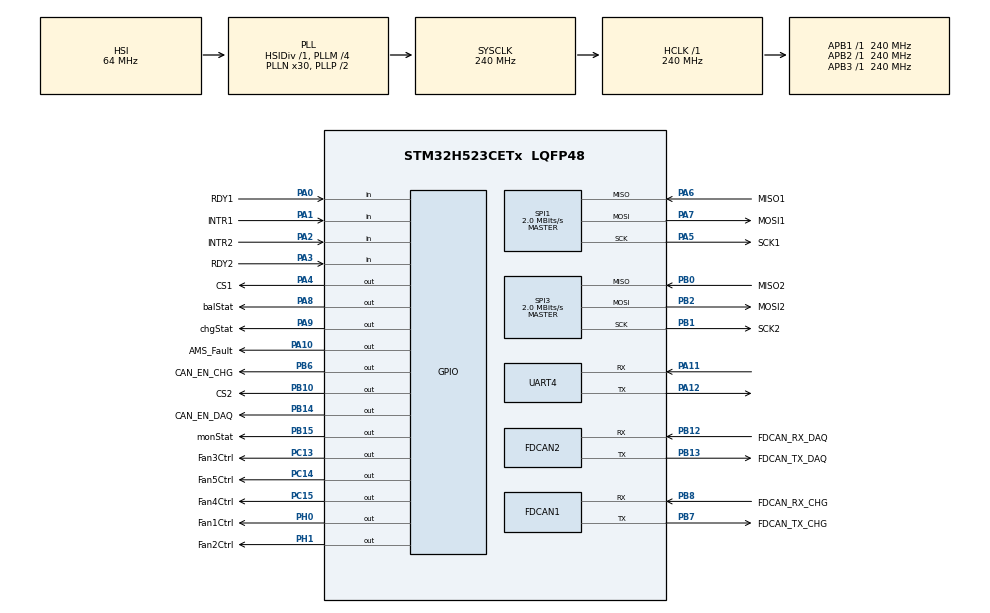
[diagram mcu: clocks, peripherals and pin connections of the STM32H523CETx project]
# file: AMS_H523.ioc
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ADC1.Channel-0\#ChannelRegularConversion=ADC_CHANNEL_VREFINT
ADC1.Channel-1\#ChannelRegularConversion=ADC_CHANNEL_TEMPSENSOR
ADC1.ContinuousConvMode=DISABLE
ADC1.ExternalTrigConv=ADC_EXTERNALTRIG_T3_TRGO
ADC1.MonitoredBy-0\#ChannelRegularConversion=__NULL
ADC1.MonitoredBy-1\#ChannelRegularConversion=__NULL
ADC1.NbrOfConversion=2
ADC1.NbrOfConversionFlag=1
ADC1.OffsetNumber-0\#ChannelRegularConversion=ADC_OFFSET_NONE
ADC1.OffsetNumber-1\#ChannelRegularConversion=ADC_OFFSET_NONE
ADC1.Rank-0\#ChannelRegularConversion=1
ADC1.Rank-1\#ChannelRegularConversion=2
ADC1.SamplingTime-0\#ChannelRegularConversion=ADC_SAMPLETIME_247CYCLES_5
ADC1.SamplingTime-1\#ChannelRegularConversion=ADC_SAMPLETIME_247CYCLES_5
ADC1.master=1
BOOTPATH.BootPathName=LEGACY
BOOTPATH.UserSelectedBootPath=LEGACY
CORTEX_M33_NS.userName=CORTEX_M33
FDCAN1.CalculateBaudRateNominal=500000
FDCAN1.CalculateTimeBitNominal=2000
FDCAN1.CalculateTimeQuantumNominal=100.0
FDCAN1.DataPrescaler=16
FDCAN1.DataSyncJumpWidth=1
FDCAN1.DataTimeSeg1=13
FDCAN1.DataTimeSeg2=6
FDCAN1.ExtFiltersNbr=1
FDCAN1.FrameFormat=FDCAN_FRAME_CLASSIC
FDCAN1.NominalPrescaler=16
FDCAN1.NominalSyncJumpWidth=4
FDCAN1.NominalTimeSeg1=13
FDCAN1.NominalTimeSeg2=6
FDCAN2.CalculateBaudRateNominal=1000000
FDCAN2.CalculateTimeBitNominal=1000
FDCAN2.CalculateTimeQuantumNominal=6.25
FDCAN2.DataSyncJumpWidth=9
FDCAN2.DataTimeSeg1=10
FDCAN2.DataTimeSeg2=9
FDCAN2.FrameFormat=FDCAN_FRAME_FD_BRS
FDCAN2.NominalPrescaler=1
FDCAN2.NominalSyncJumpWidth=21
FDCAN2.NominalTimeSeg1=138
FDCAN2.NominalTimeSeg2=21
GPDMA1.IPHANDLE_GPDMACH0-SIMPLEREQUEST_GPDMACH0=__NULL
GPDMA1.PRIORITY_GPDMACH0=DMA_LOW_PRIORITY_HIGH_WEIGHT
GPDMA1.REQUEST_GPDMACH0=GPDMA1_REQUEST_ADC1
Mcu.Family=STM32H5
Mcu.Name=STM32H523CETx
Mcu.Package=LQFP48
NVIC.ADC1_IRQn=true\:0\:0\:false\:false\:true\:true\:true\:true
NVIC.FDCAN1_IT0_IRQn=true\:0\:0\:false\:false\:true\:true\:true\:true
NVIC.FDCAN1_IT1_IRQn=true\:0\:0\:false\:false\:true\:true\:true\:true
NVIC.GPDMA1_Channel0_IRQn=true\:0\:0\:false\:false\:true\:false\:true\:true
NVIC.PriorityGroup=NVIC_PRIORITYGROUP_4
NVIC.TIM3_IRQn=true\:0\:0\:false\:false\:true\:true\:true\:true
NVIC.TIM4_IRQn=true\:0\:0\:false\:false\:true\:true\:true\:true
PA0.GPIO_Label=RDY1
PA0.Signal=GPIO_Input
PA1.GPIO_Label=INTR1
PA1.Signal=GPIO_Input
PA10.GPIO_Label=AMS_Fault
PA10.Signal=GPIO_Output
PA11.Mode=Asynchronous
PA11.Signal=UART4_RX
PA12.Mode=Asynchronous
PA12.Signal=UART4_TX
PA13(JTMS/SWDIO).Mode=Trace_Asynchronous_SW
PA13(JTMS/SWDIO).Signal=DEBUG_JTMS-SWDIO
PA14(JTCK/SWCLK).Mode=Trace_Asynchronous_SW
PA14(JTCK/SWCLK).Signal=DEBUG_JTCK-SWCLK
PA2.GPIO_Label=INTR2
PA2.Signal=GPIO_Input
PA3.GPIO_Label=RDY2
PA3.Signal=GPIO_Input
PA4.GPIO_Label=CS1
PA4.GPIO_Speed=GPIO_SPEED_FREQ_VERY_HIGH
PA4.Signal=GPIO_Output
PA5.GPIO_Label=SCK1
PA5.Mode=Full_Duplex_Master
PA5.Signal=SPI1_SCK
PA6.GPIO_Label=MISO1
PA6.Mode=Full_Duplex_Master
PA6.Signal=SPI1_MISO
PA7.GPIO_Label=MOSI1
PA7.Mode=Full_Duplex_Master
PA7.Signal=SPI1_MOSI
PA8.GPIO_Label=balStat
PA8.Signal=GPIO_Output
PA9.GPIO_Label=chgStat
PA9.Signal=GPIO_Output
PB0.GPIO_Label=MISO2
PB0.Mode=Full_Duplex_Master
PB0.Signal=SPI3_MISO
PB1.GPIO_Label=SCK2
PB1.Mode=Full_Duplex_Master
PB1.Signal=SPI3_SCK
PB10.GPIO_Label=CS2
PB10.GPIO_ModeDefaultOutputPP=GPIO_MODE_OUTPUT_PP
PB10.GPIO_PuPd=GPIO_NOPULL
PB10.GPIO_Speed=GPIO_SPEED_FREQ_HIGH
PB10.PinState=GPIO_PIN_SET
PB10.Signal=GPIO_Output
PB12.GPIO_Label=FDCAN_RX_DAQ
PB12.Mode=FDCAN_Activate
PB12.Signal=FDCAN2_RX
PB13.GPIO_Label=FDCAN_TX_DAQ
PB13.Mode=FDCAN_Activate
PB13.Signal=FDCAN2_TX
PB14.GPIO_Label=CAN_EN_DAQ
PB14.Signal=GPIO_Output
PB15.GPIO_Label=monStat
PB15.Signal=GPIO_Output
PB2.GPIO_Label=MOSI2
PB2.Mode=Full_Duplex_Master
PB2.Signal=SPI3_MOSI
PB3(JTDO/TRACESWO).Mode=Trace_Asynchronous_SW
PB3(JTDO/TRACESWO).Signal=DEBUG_JTDO-SWO
PB6.GPIO_Label=CAN_EN_CHG
PB6.Signal=GPIO_Output
PB7.GPIO_Label=FDCAN_TX_CHG
PB7.Mode=FDCAN_Activate
PB7.Signal=FDCAN1_TX
PB8.GPIO_Label=FDCAN_RX_CHG
PB8.Mode=FDCAN_Activate
PB8.Signal=FDCAN1_RX
PC13.GPIO_Label=Fan3Ctrl
PC13.GPIO_PuPd=GPIO_PULLUP
PC13.Signal=GPIO_Output
PC14-OSC32_IN(OSC32_IN).GPIO_Label=Fan5Ctrl
PC14-OSC32_IN(OSC32_IN).GPIO_PuPd=GPIO_PULLUP
PC14-OSC32_IN(OSC32_IN).Signal=GPIO_Output
PC15-OSC32_OUT(OSC32_OUT).GPIO_Label=Fan4Ctrl
PC15-OSC32_OUT(OSC32_OUT).GPIO_PuPd=GPIO_PULLUP
PC15-OSC32_OUT(OSC32_OUT).Signal=GPIO_Output
PH0-OSC_IN(PH0).GPIO_Label=Fan1Ctrl
PH0-OSC_IN(PH0).GPIO_PuPd=GPIO_PULLUP
PH0-OSC_IN(PH0).Signal=GPIO_Output
PH1-OSC_OUT(PH1).GPIO_Label=Fan2Ctrl
PH1-OSC_OUT(PH1).GPIO_PuPd=GPIO_PULLUP
PH1-OSC_OUT(PH1).Signal=GPIO_Output
ProjectManager.HeapSize=0x200
ProjectManager.StackSize=0x400
ProjectManager.TargetToolchain=STM32CubeIDE
RCC.ADCFreq_Value=240000000
RCC.AHBFreq_Value=240000000
RCC.APB1Freq_Value=240000000
RCC.APB1TimFreq_Value=240000000
RCC.APB2Freq_Value=240000000
RCC.APB2TimFreq_Value=240000000
RCC.APB3Freq_Value=240000000
RCC.CSI_VALUE=4000000
RCC.CortexFreq_Value=240000000
RCC.EPOD_VALUE=64000000
RCC.FDCANClockSelection=RCC_FDCANCLKSOURCE_PLL1Q
RCC.HCLKFreq_Value=240000000
RCC.HSE_VALUE=25000000
RCC.HSI48_VALUE=48000000
RCC.HSIDiv=RCC_HSI_DIV1
RCC.HSI_VALUE=64000000
RCC.LSE_VALUE=32768
RCC.LSIRC_VALUE=32000
RCC.PLL1Q=3
RCC.PLL2FRACN=0
RCC.PLL2N=40
RCC.PLL3FRACN=0
RCC.PLL3N=64
RCC.PLL3P=8
RCC.PLLFRACN=0
RCC.PLLM=4
RCC.PLLN=30
RCC.PLLSourceVirtual=RCC_PLL1_SOURCE_HSI
RCC.SPI1CLockSelection=RCC_SPI1CLKSOURCE_PLL3P
RCC.SPI3CLockSelection=RCC_SPI3CLKSOURCE_PLL3P
RCC.SYSCLKFreq_VALUE=240000000
RCC.SYSCLKSource=RCC_SYSCLKSOURCE_PLLCLK
RCC.USBFreq_Value=48000000
RCC.VCOOutputFreq_Value=480000000
SPI1.BaudRatePrescaler=SPI_BAUDRATEPRESCALER_16
SPI1.CalculateBaudRate=2.0 MBits/s
SPI1.DataSize=SPI_DATASIZE_8BIT
SPI1.Direction=SPI_DIRECTION_2LINES
SPI1.Mode=SPI_MODE_MASTER
SPI1.NSSPMode=SPI_NSS_PULSE_DISABLE
SPI1.VirtualType=VM_MASTER
SPI3.BaudRatePrescaler=SPI_BAUDRATEPRESCALER_16
SPI3.CalculateBaudRate=2.0 MBits/s
SPI3.Direction=SPI_DIRECTION_2LINES
SPI3.Mode=SPI_MODE_MASTER
SPI3.VirtualType=VM_MASTER
TIM3.PeriodNoDither=999
TIM3.Prescaler=4999
TIM3.TIM_MasterOutputTrigger=TIM_TRGO_UPDATE
TIM4.PeriodNoDither=9999
TIM4.Prescaler=24999
TIM4.TIM_MasterOutputTrigger=TIM_TRGO_UPDATE
TIM6.Prescaler=23999
VP_ADC1_TempSens_Input.Mode=IN-TempSens
VP_ADC1_Vref_Input.Mode=IN-Vrefint
VP_BOOTPATH_VS_BOOTPATH.Mode=BP_Activate
VP_CORTEX_M33_NS_VS_Hclk.Mode=Hclk_Mode
VP_GPDMA1_VS_GPDMACH0.Mode=SIMPLEREQUEST_GPDMACH0
VP_MEMORYMAP_VS_MEMORYMAP.Mode=CurAppReg
VP_PWR_VS_LPOM.Mode=PowerOptimisation
VP_PWR_VS_SECSignals.Mode=Security/Privilege
VP_TIM2_VS_ClockSourceINT.Mode=Internal
VP_TIM3_VS_ClockSourceINT.Mode=Internal
VP_TIM4_VS_ClockSourceINT.Mode=Internal
VP_TIM5_VS_ClockSourceINT.Mode=Internal
VP_TIM6_VS_ClockSourceINT.Mode=Enable_Timer
board=custom

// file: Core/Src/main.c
/* USER CODE BEGIN Header */
/**
  ******************************************************************************
  * @file           : main.c
  * @brief          : Main program body
  ******************************************************************************
  * @attention
  *
  * Copyright (c) 2025 STMicroelectronics.
  * All rights reserved.
  *
  * This software is licensed under terms that can be found in the LICENSE file
  * in the root directory of this software component.
  * If no LICENSE file comes with this software, it is provided AS-IS.
  *
  ******************************************************************************
  */
/* USER CODE END Header */
#include "main.h"
#include "adc.h"
#include "fdcan.h"
#include "gpdma.h"
#include "spi.h"
#include "tim.h"
#include "usart.h"
#include "gpio.h"

/* USER CODE BEGIN Includes */
#include "adBms_Application.h"
#include "math.h"
#include "application.h"
#include "common.h"

/* USER CODE END Includes */

/* USER CODE BEGIN PD */
#define AVG_SLOPE (4.3F)
#define V_AT_25C  (1.43F)
#define V_REF_INT (1.2F)
/* USER CODE END PD */

/* USER CODE BEGIN PV */
SEG_PARAMS  SEG1,SEG2,SEG3,SEG4,SEG5;

SEG_BSTAT SEG1_B, SEG2_B, SEG3_B, SEG4_B, SEG5_B;

//uint16_t TS_Current;
float AMS_SOC = 0.0;
uint8_t AMS_SAFE;

uint16_t AMS_Charg_I = 50;
uint16_t AMS_Charg_V = 3201;
uint8_t balancingState = 0 ; // 0-> normal mode || 1-> charger connected
//uint8_t MCU_junction_temp;

uint8_t UpdateEve_MCUtemp = 0 ;
uint16_t ADC_RES[2];
float MCUTemperature, V_Sense, V_Ref;

uint8_t Charge_EN = 0;
uint8_t Charge_FullAmp = 0;
uint8_t Charge_1Amp = 0;
uint8_t SDC_Temp_CHECK = 0;
uint8_t SDC_FLAG =1;
uint8_t SDC_V_CHECK = 0;
uint8_t FAN_CTRL=0;
uint8_t FAN_CTRL1=0;
uint8_t FAN_CTRL2=0;
uint8_t FAN_CTRL3=0;
uint8_t FAN_CTRL4=0;
uint8_t FAN_CTRL5=0;

/* USER CODE END PV */

void SystemClock_Config(void);
void PeriphCommonClock_Config(void);

int main(void)
{

  /* MCU Configuration--------------------------------------------------------*/

  /* Reset of all peripherals, Initializes the Flash interface and the Systick. */
  HAL_Init();

  /* Configure the system clock */
  SystemClock_Config();

  /* Configure the peripherals common clocks */
  PeriphCommonClock_Config();

  /* Initialize all configured peripherals */
  MX_GPIO_Init();
  MX_GPDMA1_Init();
  MX_FDCAN1_Init();
  MX_FDCAN2_Init();
  MX_SPI1_Init();
  MX_SPI3_Init();
  MX_TIM2_Init();
  MX_TIM3_Init();
  MX_UART4_Init();
  MX_TIM5_Init();
  MX_TIM4_Init();
  MX_ADC1_Init();
  MX_TIM6_Init();
  /* USER CODE BEGIN 2 */
  HAL_GPIO_WritePin(CS2_GPIO_Port,CS2_Pin,GPIO_PIN_SET);
  HAL_TIM_Base_Start(&htim3);
  HAL_TIM_Base_Start_IT(&htim6);
////  HAL_ADCEx_Calibration_Start(&hadc1,ADC_SINGLE_ENDED);
////  HAL_ADC_Start_DMA(&hadc1, (uint32_t*)ADC_RES, 2);   // Start ADC Conversion for MCU temp
////
  HAL_GPIO_WritePin(monStat_GPIO_Port, monStat_Pin, GPIO_PIN_SET);
//
//  HAL_GPIO_WritePin(AMS_Fault_GPIO_Port, AMS_Fault_Pin, GPIO_PIN_SET);
  HAL_GPIO_WritePin(CS2_GPIO_Port, CS2_Pin, GPIO_PIN_SET);
//  init_contCurrentConv();
  CAN_Data_Init();
  CAN_Charger_Init();
//  HAL_Delay(1000);
//  canFraming();
  adbms_init_loop();
//  HAL_TIM_Base_Start_IT(&htim3);
//  canFraming();
//  cantestFraming();
  /* USER CODE END 2 */

  /* Infinite loop */
  /* USER CODE BEGIN WHILE */
  while (1)
  {
//	  while(1)
//	  if(balancingState==0)
//	  	  {
	  if(SDC_FLAG){
		  HAL_GPIO_WritePin(AMS_Fault_GPIO_Port, AMS_Fault_Pin, GPIO_PIN_SET);
	  } else {
		  HAL_GPIO_WritePin(AMS_Fault_GPIO_Port, AMS_Fault_Pin, GPIO_PIN_RESET);
	  }

	  Fan_All(FAN_CTRL);
	  Fan_1(FAN_CTRL1);
	  Fan_2(FAN_CTRL2);
	  Fan_3(FAN_CTRL3);
	  Fan_4(FAN_CTRL4);
	  Fan_5(FAN_CTRL5);

//		  readI();
//		  ad29Delay_us(2500);

//	  cantestFraming();

//	   		CAN_DataTX_1s();

	  	  adbms_readCell_loop();
	  	  adbmsReinitMain();
//	  	HAL_Delay(50);
	  	  adbms_readTempToggle();
//
	  	  adBms_delayUs(3000);
//	  	CAN_DataTX_1s();
//	  	  }
//	  else
//	  	  {

//	  	  }
//	  	  HAL_Delay(50);
    /* USER CODE END WHILE */

  }
}

void SystemClock_Config(void)
{
  RCC_OscInitTypeDef RCC_OscInitStruct = {0};
  RCC_ClkInitTypeDef RCC_ClkInitStruct = {0};

  /** Configure the main internal regulator output voltage
  */
  __HAL_PWR_VOLTAGESCALING_CONFIG(PWR_REGULATOR_VOLTAGE_SCALE0);

  while(!__HAL_PWR_GET_FLAG(PWR_FLAG_VOSRDY)) {}

  /** Initializes the RCC Oscillators according to the specified parameters
  * in the RCC_OscInitTypeDef structure.
  */
  RCC_OscInitStruct.OscillatorType = RCC_OSCILLATORTYPE_HSI|RCC_OSCILLATORTYPE_CSI;
  RCC_OscInitStruct.HSIState = RCC_HSI_ON;
  RCC_OscInitStruct.HSIDiv = RCC_HSI_DIV1;
  RCC_OscInitStruct.HSICalibrationValue = RCC_HSICALIBRATION_DEFAULT;
  RCC_OscInitStruct.CSIState = RCC_CSI_ON;
  RCC_OscInitStruct.CSICalibrationValue = RCC_CSICALIBRATION_DEFAULT;
  RCC_OscInitStruct.PLL.PLLState = RCC_PLL_ON;
  RCC_OscInitStruct.PLL.PLLSource = RCC_PLL1_SOURCE_HSI;
  RCC_OscInitStruct.PLL.PLLM = 4;
  RCC_OscInitStruct.PLL.PLLN = 30;
  RCC_OscInitStruct.PLL.PLLP = 2;
  RCC_OscInitStruct.PLL.PLLQ = 3;
  RCC_OscInitStruct.PLL.PLLR = 2;
  RCC_OscInitStruct.PLL.PLLRGE = RCC_PLL1_VCIRANGE_3;
  RCC_OscInitStruct.PLL.PLLVCOSEL = RCC_PLL1_VCORANGE_WIDE;
  RCC_OscInitStruct.PLL.PLLFRACN = 0;
  if (HAL_RCC_OscConfig(&RCC_OscInitStruct) != HAL_OK)
  {
    Error_Handler();
  }

  /** Initializes the CPU, AHB and APB buses clocks
  */
  RCC_ClkInitStruct.ClockType = RCC_CLOCKTYPE_HCLK|RCC_CLOCKTYPE_SYSCLK
                              |RCC_CLOCKTYPE_PCLK1|RCC_CLOCKTYPE_PCLK2
                              |RCC_CLOCKTYPE_PCLK3;
  RCC_ClkInitStruct.SYSCLKSource = RCC_SYSCLKSOURCE_PLLCLK;
  RCC_ClkInitStruct.AHBCLKDivider = RCC_SYSCLK_DIV1;
  RCC_ClkInitStruct.APB1CLKDivider = RCC_HCLK_DIV1;
  RCC_ClkInitStruct.APB2CLKDivider = RCC_HCLK_DIV1;
  RCC_ClkInitStruct.APB3CLKDivider = RCC_HCLK_DIV1;

  if (HAL_RCC_ClockConfig(&RCC_ClkInitStruct, FLASH_LATENCY_5) != HAL_OK)
  {
    Error_Handler();
  }

  /** Configure the programming delay
  */
  __HAL_FLASH_SET_PROGRAM_DELAY(FLASH_PROGRAMMING_DELAY_2);
}

void PeriphCommonClock_Config(void)
{
  RCC_PeriphCLKInitTypeDef PeriphClkInitStruct = {0};

  /** Initializes the peripherals clock
  */
  PeriphClkInitStruct.PeriphClockSelection = RCC_PERIPHCLK_SPI1|RCC_PERIPHCLK_SPI3;
  PeriphClkInitStruct.PLL3.PLL3Source = RCC_PLL3_SOURCE_CSI;
  PeriphClkInitStruct.PLL3.PLL3M = 1;
  PeriphClkInitStruct.PLL3.PLL3N = 64;
  PeriphClkInitStruct.PLL3.PLL3P = 8;
  PeriphClkInitStruct.PLL3.PLL3Q = 2;
  PeriphClkInitStruct.PLL3.PLL3R = 2;
  PeriphClkInitStruct.PLL3.PLL3RGE = RCC_PLL3_VCIRANGE_0;
  PeriphClkInitStruct.PLL3.PLL3VCOSEL = RCC_PLL3_VCORANGE_MEDIUM;
  PeriphClkInitStruct.PLL3.PLL3FRACN = 0;
  PeriphClkInitStruct.PLL3.PLL3ClockOut = RCC_PLL3_DIVP;
  PeriphClkInitStruct.Spi1ClockSelection = RCC_SPI1CLKSOURCE_PLL3P;
  PeriphClkInitStruct.Spi3ClockSelection = RCC_SPI3CLKSOURCE_PLL3P;
  if (HAL_RCCEx_PeriphCLKConfig(&PeriphClkInitStruct) != HAL_OK)
  {
    Error_Handler();
  }
}

/* USER CODE BEGIN 4 */
void HAL_ADC_ConvCpltCallback(ADC_HandleTypeDef* hadc)
{
	HAL_GPIO_TogglePin(monStat_GPIO_Port, monStat_Pin); // Toggle Interrupt Rate Indicator Pin
    UpdateEve_MCUtemp = 1;
}

void getMCUTemp(void)
{
	          V_Ref = (float)((V_REF_INT * 4095.0)/ADC_RES[0]);
	          V_Sense = (float)(ADC_RES[1] * V_Ref) / 4095.0;
	          MCUTemperature = (((V_AT_25C - V_Sense) * 1000.0) /AVG_SLOPE) + 25.0;
	          UpdateEve_MCUtemp = 0;

}

void HAL_TIM_PeriodElapsedCallback (TIM_HandleTypeDef *htim)
{
 	if (htim == &htim4) {
// 		all++;
// 		canFraming();
//

 	}

 	if (htim == &htim6) {
 	// 		a++;
 	// 		canFraming();

 	 		CAN_Charger_transmit();
 	// 		HAL_Delay(100);

 	 	}

}

void Fan_All (uint8_t FANCtrl)
{
	if(FANCtrl){
			    HAL_GPIO_WritePin(Fan5Ctrl_GPIO_Port, Fan5Ctrl_Pin, GPIO_PIN_SET);
			    HAL_GPIO_WritePin(Fan4Ctrl_GPIO_Port, Fan4Ctrl_Pin, GPIO_PIN_SET);
		  		HAL_GPIO_WritePin(Fan1Ctrl_GPIO_Port, Fan1Ctrl_Pin, GPIO_PIN_SET);
		  		HAL_GPIO_WritePin(Fan2Ctrl_GPIO_Port, Fan2Ctrl_Pin, GPIO_PIN_SET);
		  		HAL_GPIO_WritePin(Fan3Ctrl_GPIO_Port, Fan3Ctrl_Pin, GPIO_PIN_SET);

		  	  } else {
		  		HAL_GPIO_WritePin(Fan5Ctrl_GPIO_Port, Fan5Ctrl_Pin, GPIO_PIN_RESET);
		  	    HAL_GPIO_WritePin(Fan4Ctrl_GPIO_Port, Fan4Ctrl_Pin, GPIO_PIN_RESET);
		  		HAL_GPIO_WritePin(Fan1Ctrl_GPIO_Port, Fan1Ctrl_Pin, GPIO_PIN_RESET);
		  			  		HAL_GPIO_WritePin(Fan2Ctrl_GPIO_Port, Fan2Ctrl_Pin, GPIO_PIN_RESET);
		  			  		HAL_GPIO_WritePin(Fan3Ctrl_GPIO_Port, Fan3Ctrl_Pin, GPIO_PIN_RESET);

		  	  }
}

void Fan_1 (uint8_t FANCtrl1)
{
	if(FANCtrl1){
	//
		  	  		HAL_GPIO_WritePin(Fan1Ctrl_GPIO_Port, Fan1Ctrl_Pin, GPIO_PIN_SET);
	//
		  	  	  } else {

		  	  		HAL_GPIO_WritePin(Fan1Ctrl_GPIO_Port, Fan1Ctrl_Pin, GPIO_PIN_RESET);

		  	  	  }
}

void Fan_2 (uint8_t FANCtrl2)
{
	if(FAN_CTRL2){

		  	  		HAL_GPIO_WritePin(Fan2Ctrl_GPIO_Port, Fan2Ctrl_Pin, GPIO_PIN_SET);

		  	  	  } else {

		  	  			  		HAL_GPIO_WritePin(Fan2Ctrl_GPIO_Port, Fan2Ctrl_Pin, GPIO_PIN_RESET);

		  	  	  }
}
void Fan_3 (uint8_t FANCtrl3)
{
	if(FAN_CTRL3){

		  	  		HAL_GPIO_WritePin(Fan3Ctrl_GPIO_Port, Fan3Ctrl_Pin, GPIO_PIN_SET);

		  	  	  } else {

		  	  			  		HAL_GPIO_WritePin(Fan3Ctrl_GPIO_Port, Fan3Ctrl_Pin, GPIO_PIN_RESET);HAL_GPIO_WritePin(Fan5Ctrl_GPIO_Port, Fan5Ctrl_Pin, GPIO_PIN_RESET);
		  	  	  }
}
void Fan_4 (uint8_t FANCtrl4)
{
	if(FAN_CTRL4){
		  	  		  HAL_GPIO_WritePin(Fan4Ctrl_GPIO_Port, Fan4Ctrl_Pin, GPIO_PIN_SET);

		  	  	  } else {
		  	  		  HAL_GPIO_WritePin(Fan4Ctrl_GPIO_Port, Fan4Ctrl_Pin, GPIO_PIN_RESET);

		  	  	  }
}
void Fan_5 (uint8_t FANCtrl5)
{
	if(FAN_CTRL5){

		  	  		HAL_GPIO_WritePin(Fan5Ctrl_GPIO_Port, Fan5Ctrl_Pin, GPIO_PIN_SET);
		  	  	  } else {

		  	  			  		HAL_GPIO_WritePin(Fan5Ctrl_GPIO_Port, Fan5Ctrl_Pin, GPIO_PIN_RESET);
		  	  	  }
}

/* USER CODE END 4 */

void Error_Handler(void)
{
  __disable_irq();
  while (1)
  {
  }
}
